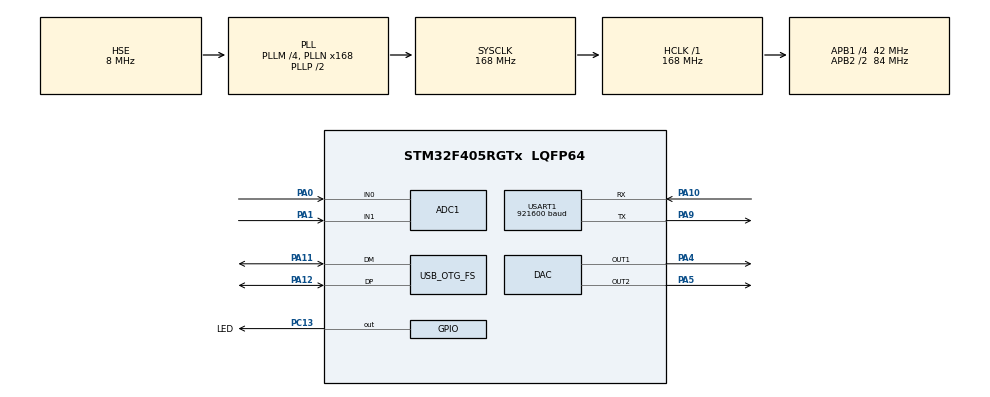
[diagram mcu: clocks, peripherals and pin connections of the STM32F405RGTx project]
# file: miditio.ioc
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ADC1.Channel-0\#ChannelRegularConversion=ADC_CHANNEL_0
ADC1.NbrOfConversionFlag=1
ADC1.Rank-0\#ChannelRegularConversion=1
ADC1.SamplingTime-0\#ChannelRegularConversion=ADC_SAMPLETIME_28CYCLES
ADC1.master=1
Mcu.Family=STM32F4
Mcu.Name=STM32F405RGTx
Mcu.Package=LQFP64
NVIC.OTG_FS_IRQn=true\:0\:0\:false\:false\:true\:true\:true\:true
NVIC.PriorityGroup=NVIC_PRIORITYGROUP_4
PA0-WKUP.Signal=ADCx_IN0
PA1.Signal=ADCx_IN1
PA10.Mode=Asynchronous
PA10.Signal=USART1_RX
PA11.Mode=Device_Only
PA11.Signal=USB_OTG_FS_DM
PA12.Mode=Device_Only
PA12.Signal=USB_OTG_FS_DP
PA13.Mode=Serial_Wire
PA13.Signal=SYS_JTMS-SWDIO
PA14.Mode=Serial_Wire
PA14.Signal=SYS_JTCK-SWCLK
PA4.Signal=COMP_DAC1_group
PA5.Signal=COMP_DAC2_group
PA9.Mode=Asynchronous
PA9.Signal=USART1_TX
PC13-ANTI_TAMP.GPIO_Label=LED
PC13-ANTI_TAMP.PinState=GPIO_PIN_SET
PC13-ANTI_TAMP.Signal=GPIO_Output
PH0-OSC_IN.Mode=HSE-External-Oscillator
PH0-OSC_IN.Signal=RCC_OSC_IN
PH1-OSC_OUT.Mode=HSE-External-Oscillator
PH1-OSC_OUT.Signal=RCC_OSC_OUT
ProjectManager.HeapSize=0x200
ProjectManager.StackSize=0x400
ProjectManager.TargetToolchain=STM32CubeIDE
RCC.48MHZClocksFreq_Value=48000000
RCC.AHBFreq_Value=168000000
RCC.APB1CLKDivider=RCC_HCLK_DIV4
RCC.APB1Freq_Value=42000000
RCC.APB1TimFreq_Value=84000000
RCC.APB2CLKDivider=RCC_HCLK_DIV2
RCC.APB2Freq_Value=84000000
RCC.APB2TimFreq_Value=168000000
RCC.CortexFreq_Value=168000000
RCC.HCLKFreq_Value=168000000
RCC.HSE_VALUE=8000000
RCC.HSI_VALUE=16000000
RCC.LSE_VALUE=32768
RCC.PLLM=4
RCC.PLLN=168
RCC.PLLQ=7
RCC.SYSCLKFreq_VALUE=168000000
RCC.SYSCLKSource=RCC_SYSCLKSOURCE_PLLCLK
RCC.VCOOutputFreq_Value=336000000
SH.ADCx_IN0.0=ADC1_IN0,IN0
SH.ADCx_IN1.0=ADC1_IN1,IN1
SH.COMP_DAC1_group.0=DAC_OUT1,DAC_OUT1
SH.COMP_DAC2_group.0=DAC_OUT2,DAC_OUT2
USART1.BaudRate=921600
USART1.VirtualMode=VM_ASYNC
USB_OTG_FS.VirtualMode=Device_Only
VP_ADC1_TempSens_Input.Mode=IN-TempSens
VP_ADC1_Vref_Input.Mode=IN-Vrefint
board=custom

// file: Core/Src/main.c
/* USER CODE BEGIN Header */
/**
 ******************************************************************************
 * @file           : main.c
 * @brief          : Main program body
 ******************************************************************************
 * @attention
 *
 * Copyright (c) 2022 Lars Boegild Thomsen <lbthomsen@gmail.com>
 * All rights reserved.
 *
 * This software is licensed under terms that can be found in the LICENSE file
 * in the root directory of this software component.
 * If no LICENSE file comes with this software, it is provided AS-IS.
 *
 ******************************************************************************
 */
/* USER CODE END Header */
#include "main.h"

/* USER CODE BEGIN Includes */
#include <stdio.h>
#include "usb_device.h"
/* USER CODE END Includes */

ADC_HandleTypeDef hadc1;

DAC_HandleTypeDef hdac;

UART_HandleTypeDef huart1;

PCD_HandleTypeDef hpcd_USB_OTG_FS;

void SystemClock_Config(void);
static void MX_GPIO_Init(void);
static void MX_ADC1_Init(void);
static void MX_DAC_Init(void);
static void MX_USART1_UART_Init(void);
static void MX_USB_OTG_FS_PCD_Init(void);

/* USER CODE BEGIN 0 */

// Send printf to uart1
int _write(int fd, char *ptr, int len) {
    HAL_StatusTypeDef hstatus;

    if (fd == 1 || fd == 2) {
        hstatus = HAL_UART_Transmit(&huart1, (uint8_t*) ptr, len, HAL_MAX_DELAY);
        if (hstatus == HAL_OK)
            return len;
        else
            return -1;
    }
    return -1;
}

void USBD_MIDI_DataInHandler(uint8_t *usb_rx_buffer, uint8_t usb_rx_buffer_length) {

    uint8_t wire;
    uint8_t message;
    uint8_t channel;
    uint8_t messageByte1;
    uint8_t messageByte2;
    uint8_t octave;
    uint8_t note;
    float voltage;

    while (usb_rx_buffer_length && *usb_rx_buffer != 0x00) {
        wire = usb_rx_buffer[0] >> 4;
        message = usb_rx_buffer[1] >> 4;
        channel = usb_rx_buffer[1] & 0x0F;
        messageByte1 = usb_rx_buffer[2];
        messageByte2 = usb_rx_buffer[3];

        octave = messageByte1 / 12;
        note = messageByte1 % 12;
        voltage = (float)octave - 4 + (float)note * 1/12;

        DBG("W=%d M=%d C=%d HB=%d LB=%d O=%d N=%d V=%f", wire, message, channel, messageByte1, messageByte2, octave, note, voltage);

        usb_rx_buffer += 4;
        usb_rx_buffer_length -= 4;
    }
}

/* USER CODE END 0 */

int main(void)
{

  /* MCU Configuration--------------------------------------------------------*/

  /* Reset of all peripherals, Initializes the Flash interface and the Systick. */
  HAL_Init();

  /* Configure the system clock */
  SystemClock_Config();

  /* Initialize all configured peripherals */
  MX_GPIO_Init();
  MX_ADC1_Init();
  MX_DAC_Init();
  MX_USART1_UART_Init();
  /* USER CODE BEGIN 2 */

    MX_USB_DEVICE_Init();

    DBG("\n\n-------------\nStarting");

  /* USER CODE END 2 */

  /* Infinite loop */
  /* USER CODE BEGIN WHILE */

    uint32_t now = 0, last_blink = 0;

    while (1) {

        now = HAL_GetTick();

        if (now - last_blink >= 500) {
            HAL_GPIO_TogglePin(LED_GPIO_Port, LED_Pin);
            last_blink = now;
        }

    /* USER CODE END WHILE */

    }
}

void SystemClock_Config(void)
{
  RCC_OscInitTypeDef RCC_OscInitStruct = {0};
  RCC_ClkInitTypeDef RCC_ClkInitStruct = {0};

  /** Configure the main internal regulator output voltage
  */
  __HAL_RCC_PWR_CLK_ENABLE();
  __HAL_PWR_VOLTAGESCALING_CONFIG(PWR_REGULATOR_VOLTAGE_SCALE1);

  /** Initializes the RCC Oscillators according to the specified parameters
  * in the RCC_OscInitTypeDef structure.
  */
  RCC_OscInitStruct.OscillatorType = RCC_OSCILLATORTYPE_HSE;
  RCC_OscInitStruct.HSEState = RCC_HSE_ON;
  RCC_OscInitStruct.PLL.PLLState = RCC_PLL_ON;
  RCC_OscInitStruct.PLL.PLLSource = RCC_PLLSOURCE_HSE;
  RCC_OscInitStruct.PLL.PLLM = 4;
  RCC_OscInitStruct.PLL.PLLN = 168;
  RCC_OscInitStruct.PLL.PLLP = RCC_PLLP_DIV2;
  RCC_OscInitStruct.PLL.PLLQ = 7;
  if (HAL_RCC_OscConfig(&RCC_OscInitStruct) != HAL_OK)
  {
    Error_Handler();
  }

  /** Initializes the CPU, AHB and APB buses clocks
  */
  RCC_ClkInitStruct.ClockType = RCC_CLOCKTYPE_HCLK|RCC_CLOCKTYPE_SYSCLK
                              |RCC_CLOCKTYPE_PCLK1|RCC_CLOCKTYPE_PCLK2;
  RCC_ClkInitStruct.SYSCLKSource = RCC_SYSCLKSOURCE_PLLCLK;
  RCC_ClkInitStruct.AHBCLKDivider = RCC_SYSCLK_DIV1;
  RCC_ClkInitStruct.APB1CLKDivider = RCC_HCLK_DIV4;
  RCC_ClkInitStruct.APB2CLKDivider = RCC_HCLK_DIV2;

  if (HAL_RCC_ClockConfig(&RCC_ClkInitStruct, FLASH_LATENCY_5) != HAL_OK)
  {
    Error_Handler();
  }
}

static void MX_ADC1_Init(void)
{

  ADC_ChannelConfTypeDef sConfig = {0};

  /** Configure the global features of the ADC (Clock, Resolution, Data Alignment and number of conversion)
  */
  hadc1.Instance = ADC1;
  hadc1.Init.ClockPrescaler = ADC_CLOCK_SYNC_PCLK_DIV4;
  hadc1.Init.Resolution = ADC_RESOLUTION_12B;
  hadc1.Init.ScanConvMode = DISABLE;
  hadc1.Init.ContinuousConvMode = DISABLE;
  hadc1.Init.DiscontinuousConvMode = DISABLE;
  hadc1.Init.ExternalTrigConvEdge = ADC_EXTERNALTRIGCONVEDGE_NONE;
  hadc1.Init.ExternalTrigConv = ADC_SOFTWARE_START;
  hadc1.Init.DataAlign = ADC_DATAALIGN_RIGHT;
  hadc1.Init.NbrOfConversion = 1;
  hadc1.Init.DMAContinuousRequests = DISABLE;
  hadc1.Init.EOCSelection = ADC_EOC_SINGLE_CONV;
  if (HAL_ADC_Init(&hadc1) != HAL_OK)
  {
    Error_Handler();
  }

  /** Configure for the selected ADC regular channel its corresponding rank in the sequencer and its sample time.
  */
  sConfig.Channel = ADC_CHANNEL_0;
  sConfig.Rank = 1;
  sConfig.SamplingTime = ADC_SAMPLETIME_28CYCLES;
  if (HAL_ADC_ConfigChannel(&hadc1, &sConfig) != HAL_OK)
  {
    Error_Handler();
  }

}

static void MX_DAC_Init(void)
{

  DAC_ChannelConfTypeDef sConfig = {0};

  /** DAC Initialization
  */
  hdac.Instance = DAC;
  if (HAL_DAC_Init(&hdac) != HAL_OK)
  {
    Error_Handler();
  }

  /** DAC channel OUT1 config
  */
  sConfig.DAC_Trigger = DAC_TRIGGER_NONE;
  sConfig.DAC_OutputBuffer = DAC_OUTPUTBUFFER_ENABLE;
  if (HAL_DAC_ConfigChannel(&hdac, &sConfig, DAC_CHANNEL_1) != HAL_OK)
  {
    Error_Handler();
  }

  /** DAC channel OUT2 config
  */
  if (HAL_DAC_ConfigChannel(&hdac, &sConfig, DAC_CHANNEL_2) != HAL_OK)
  {
    Error_Handler();
  }

}

static void MX_USART1_UART_Init(void)
{

  huart1.Instance = USART1;
  huart1.Init.BaudRate = 921600;
  huart1.Init.WordLength = UART_WORDLENGTH_8B;
  huart1.Init.StopBits = UART_STOPBITS_1;
  huart1.Init.Parity = UART_PARITY_NONE;
  huart1.Init.Mode = UART_MODE_TX_RX;
  huart1.Init.HwFlowCtl = UART_HWCONTROL_NONE;
  huart1.Init.OverSampling = UART_OVERSAMPLING_16;
  if (HAL_UART_Init(&huart1) != HAL_OK)
  {
    Error_Handler();
  }

}

static void MX_USB_OTG_FS_PCD_Init(void)
{

  hpcd_USB_OTG_FS.Instance = USB_OTG_FS;
  hpcd_USB_OTG_FS.Init.dev_endpoints = 4;
  hpcd_USB_OTG_FS.Init.speed = PCD_SPEED_FULL;
  hpcd_USB_OTG_FS.Init.dma_enable = DISABLE;
  hpcd_USB_OTG_FS.Init.phy_itface = PCD_PHY_EMBEDDED;
  hpcd_USB_OTG_FS.Init.Sof_enable = DISABLE;
  hpcd_USB_OTG_FS.Init.low_power_enable = DISABLE;
  hpcd_USB_OTG_FS.Init.lpm_enable = DISABLE;
  hpcd_USB_OTG_FS.Init.vbus_sensing_enable = DISABLE;
  hpcd_USB_OTG_FS.Init.use_dedicated_ep1 = DISABLE;
  if (HAL_PCD_Init(&hpcd_USB_OTG_FS) != HAL_OK)
  {
    Error_Handler();
  }

}

static void MX_GPIO_Init(void)
{
  GPIO_InitTypeDef GPIO_InitStruct = {0};

  /* GPIO Ports Clock Enable */
  __HAL_RCC_GPIOC_CLK_ENABLE();
  __HAL_RCC_GPIOH_CLK_ENABLE();
  __HAL_RCC_GPIOA_CLK_ENABLE();

  /*Configure GPIO pin Output Level */
  HAL_GPIO_WritePin(LED_GPIO_Port, LED_Pin, GPIO_PIN_SET);

  /*Configure GPIO pin : LED_Pin */
  GPIO_InitStruct.Pin = LED_Pin;
  GPIO_InitStruct.Mode = GPIO_MODE_OUTPUT_PP;
  GPIO_InitStruct.Pull = GPIO_NOPULL;
  GPIO_InitStruct.Speed = GPIO_SPEED_FREQ_LOW;
  HAL_GPIO_Init(LED_GPIO_Port, &GPIO_InitStruct);

}

void Error_Handler(void)
{
    __disable_irq();
    while (1) {
    }
}
